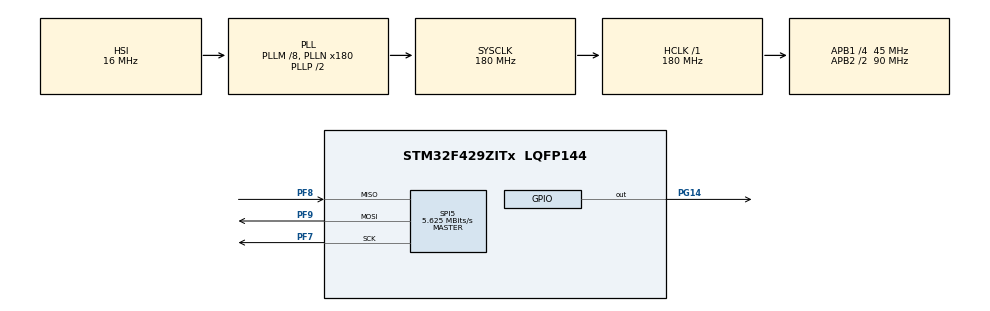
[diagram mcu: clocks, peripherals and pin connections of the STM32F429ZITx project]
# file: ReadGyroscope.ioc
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Mcu.Family=STM32F4
Mcu.Name=STM32F429ZITx
Mcu.Package=LQFP144
NVIC.PriorityGroup=NVIC_PRIORITYGROUP_4
PA13.Mode=Serial_Wire
PA13.Signal=SYS_JTMS-SWDIO
PA14.Mode=Serial_Wire
PA14.Signal=SYS_JTCK-SWCLK
PF7.Mode=Full_Duplex_Master
PF7.Signal=SPI5_SCK
PF8.Mode=Full_Duplex_Master
PF8.Signal=SPI5_MISO
PF9.Mode=Full_Duplex_Master
PF9.Signal=SPI5_MOSI
PG14.GPIO_Speed=GPIO_SPEED_FREQ_VERY_HIGH
PG14.PinState=GPIO_PIN_SET
PG14.Signal=GPIO_Output
ProjectManager.HeapSize=0x200
ProjectManager.StackSize=0x400
ProjectManager.TargetToolchain=STM32CubeIDE
RCC.48MHZClocksFreq_Value=90000000
RCC.AHBFreq_Value=180000000
RCC.APB1CLKDivider=RCC_HCLK_DIV4
RCC.APB1Freq_Value=45000000
RCC.APB1TimFreq_Value=90000000
RCC.APB2CLKDivider=RCC_HCLK_DIV2
RCC.APB2Freq_Value=90000000
RCC.APB2TimFreq_Value=180000000
RCC.CortexFreq_Value=180000000
RCC.HCLKFreq_Value=180000000
RCC.HSE_VALUE=25000000
RCC.HSI_VALUE=16000000
RCC.LSE_VALUE=32768
RCC.PLLM=8
RCC.PLLN=180
RCC.SYSCLKFreq_VALUE=180000000
RCC.SYSCLKSource=RCC_SYSCLKSOURCE_PLLCLK
RCC.VCOOutputFreq_Value=360000000
SPI5.BaudRatePrescaler=SPI_BAUDRATEPRESCALER_16
SPI5.CalculateBaudRate=5.625 MBits/s
SPI5.Direction=SPI_DIRECTION_2LINES
SPI5.Mode=SPI_MODE_MASTER
SPI5.VirtualType=VM_MASTER
board=custom

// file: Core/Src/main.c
/* USER CODE BEGIN Header */
/**
  ******************************************************************************
  * @file           : main.c
  * @brief          : Main program body
  ******************************************************************************
  * @attention
  *
  * Copyright (c) 2023 STMicroelectronics.
  * All rights reserved.
  *
  * This software is licensed under terms that can be found in the LICENSE file
  * in the root directory of this software component.
  * If no LICENSE file comes with this software, it is provided AS-IS.
  *
  ******************************************************************************
  */
/* USER CODE END Header */
#include "main.h"
#include "spi.h"
#include "gpio.h"

/* USER CODE BEGIN Includes */
#include "stm32f429i_discovery_sdram.h"
#include "stm32f429i_discovery_lcd.h"

/* USER CODE END Includes */

/* USER CODE BEGIN PV */
volatile uint32_t value;

/* USER CODE END PV */

void SystemClock_Config(void);

int main(void)
{

  /* MCU Configuration--------------------------------------------------------*/

  /* Reset of all peripherals, Initializes the Flash interface and the Systick. */
  HAL_Init();

  /* Configure the system clock */
  SystemClock_Config();

  /* Initialize all configured peripherals */
  MX_GPIO_Init();
  MX_SPI5_Init();
  /* USER CODE BEGIN 2 */

  /* USER CODE BEGIN 2 */
  //BSP_SDRAM_Init();
  //*((uint32_t*)SDRAM_DEVICE_ADDR)=0x28;
  //value=*((uint32_t*)SDRAM_DEVICE_ADDR);
  float AngleRates[3]={0};
  char xStr[20], yStr[20], zStr[20];
  //BSP_GYRO_Init();
  //BSP_GYRO_ReadID();
  //I3G4250D_Init();
  I3G4250D_ReadID();
  BSP_LCD_Init();//init LCD
  //set the layer buffer address into SDRAM
  BSP_LCD_LayerDefaultInit(1, SDRAM_DEVICE_ADDR);
  //BSP_LCD_LayerDefaultInit(1, 0xC0000000);
  BSP_LCD_SelectLayer(1);//select on which layer we write
  BSP_LCD_DisplayOn();//turn on LCD
  BSP_LCD_Clear(LCD_COLOR_WHITE);//clear the LCD on blue color
  BSP_LCD_SetBackColor(LCD_COLOR_WHITE);//set text background color
  BSP_LCD_SetTextColor(LCD_COLOR_BLACK);//set text color

  //write text
  //BSP_LCD_DisplayStringAtLine(2,"Cube STM32");
  //BSP_LCD_DisplayStringAtLine(3,"BSP");
  //BSP_LCD_DisplayStringAtLine(4,"LCD DEMO");
  BSP_LCD_DisplayStringAt(1,0,"Gyroscope",CENTER_MODE);
  BSP_LCD_DisplayStringAtLine(2,"value");

  /* USER CODE END 2 */

  /* Infinite loop */
  while (1)
  {
	  I3G4250D_ReadXYZAngRate(AngleRates);
	  sprintf(xStr, "X: %.2f", AngleRates[0]);
	  BSP_LCD_DisplayStringAtLine(4,xStr);
	  sprintf(yStr, "Y: %.2f", AngleRates[1]);
	  BSP_LCD_DisplayStringAtLine(5,yStr);
	  sprintf(zStr, "Z: %.2f", AngleRates[2]);
	  BSP_LCD_DisplayStringAtLine(6,zStr);
	  HAL_Delay(500);
  }
}

void SystemClock_Config(void)
{
  RCC_OscInitTypeDef RCC_OscInitStruct = {0};
  RCC_ClkInitTypeDef RCC_ClkInitStruct = {0};

  /** Configure the main internal regulator output voltage
  */
  __HAL_RCC_PWR_CLK_ENABLE();
  __HAL_PWR_VOLTAGESCALING_CONFIG(PWR_REGULATOR_VOLTAGE_SCALE1);

  /** Initializes the RCC Oscillators according to the specified parameters
  * in the RCC_OscInitTypeDef structure.
  */
  RCC_OscInitStruct.OscillatorType = RCC_OSCILLATORTYPE_HSI;
  RCC_OscInitStruct.HSIState = RCC_HSI_ON;
  RCC_OscInitStruct.HSICalibrationValue = RCC_HSICALIBRATION_DEFAULT;
  RCC_OscInitStruct.PLL.PLLState = RCC_PLL_ON;
  RCC_OscInitStruct.PLL.PLLSource = RCC_PLLSOURCE_HSI;
  RCC_OscInitStruct.PLL.PLLM = 8;
  RCC_OscInitStruct.PLL.PLLN = 180;
  RCC_OscInitStruct.PLL.PLLP = RCC_PLLP_DIV2;
  RCC_OscInitStruct.PLL.PLLQ = 4;
  if (HAL_RCC_OscConfig(&RCC_OscInitStruct) != HAL_OK)
  {
    Error_Handler();
  }

  /** Activate the Over-Drive mode
  */
  if (HAL_PWREx_EnableOverDrive() != HAL_OK)
  {
    Error_Handler();
  }

  /** Initializes the CPU, AHB and APB buses clocks
  */
  RCC_ClkInitStruct.ClockType = RCC_CLOCKTYPE_HCLK|RCC_CLOCKTYPE_SYSCLK
                              |RCC_CLOCKTYPE_PCLK1|RCC_CLOCKTYPE_PCLK2;
  RCC_ClkInitStruct.SYSCLKSource = RCC_SYSCLKSOURCE_PLLCLK;
  RCC_ClkInitStruct.AHBCLKDivider = RCC_SYSCLK_DIV1;
  RCC_ClkInitStruct.APB1CLKDivider = RCC_HCLK_DIV4;
  RCC_ClkInitStruct.APB2CLKDivider = RCC_HCLK_DIV2;

  if (HAL_RCC_ClockConfig(&RCC_ClkInitStruct, FLASH_LATENCY_5) != HAL_OK)
  {
    Error_Handler();
  }
}

void Error_Handler(void)
{
  __disable_irq();
  while (1)
  {
  }
}
